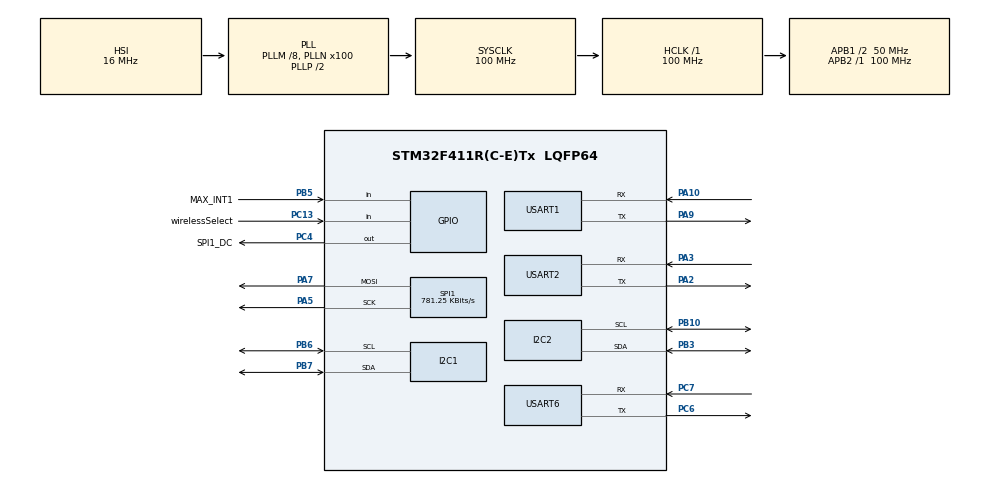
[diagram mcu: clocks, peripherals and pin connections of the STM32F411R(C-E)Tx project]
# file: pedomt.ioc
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Dma.I2C1_RX.0.Direction=DMA_PERIPH_TO_MEMORY
Dma.I2C1_RX.0.FIFOMode=DMA_FIFOMODE_DISABLE
Dma.I2C1_RX.0.Instance=DMA1_Stream0
Dma.I2C1_RX.0.MemDataAlignment=DMA_MDATAALIGN_BYTE
Dma.I2C1_RX.0.MemInc=DMA_MINC_ENABLE
Dma.I2C1_RX.0.Mode=DMA_NORMAL
Dma.I2C1_RX.0.PeriphDataAlignment=DMA_PDATAALIGN_BYTE
Dma.I2C1_RX.0.PeriphInc=DMA_PINC_DISABLE
Dma.I2C1_RX.0.Priority=DMA_PRIORITY_LOW
Dma.I2C1_TX.1.Direction=DMA_MEMORY_TO_PERIPH
Dma.I2C1_TX.1.FIFOMode=DMA_FIFOMODE_DISABLE
Dma.I2C1_TX.1.Instance=DMA1_Stream1
Dma.I2C1_TX.1.MemDataAlignment=DMA_MDATAALIGN_BYTE
Dma.I2C1_TX.1.MemInc=DMA_MINC_ENABLE
Dma.I2C1_TX.1.Mode=DMA_NORMAL
Dma.I2C1_TX.1.PeriphDataAlignment=DMA_PDATAALIGN_BYTE
Dma.I2C1_TX.1.PeriphInc=DMA_PINC_DISABLE
Dma.I2C1_TX.1.Priority=DMA_PRIORITY_LOW
Dma.Request0=I2C1_RX
Dma.Request1=I2C1_TX
Dma.Request2=USART1_RX
Dma.Request3=USART2_RX
Dma.USART1_RX.2.Direction=DMA_PERIPH_TO_MEMORY
Dma.USART1_RX.2.FIFOMode=DMA_FIFOMODE_DISABLE
Dma.USART1_RX.2.Instance=DMA2_Stream2
Dma.USART1_RX.2.MemDataAlignment=DMA_MDATAALIGN_BYTE
Dma.USART1_RX.2.MemInc=DMA_MINC_ENABLE
Dma.USART1_RX.2.Mode=DMA_CIRCULAR
Dma.USART1_RX.2.PeriphDataAlignment=DMA_PDATAALIGN_BYTE
Dma.USART1_RX.2.PeriphInc=DMA_PINC_DISABLE
Dma.USART1_RX.2.Priority=DMA_PRIORITY_LOW
Dma.USART2_RX.3.Direction=DMA_PERIPH_TO_MEMORY
Dma.USART2_RX.3.FIFOMode=DMA_FIFOMODE_DISABLE
Dma.USART2_RX.3.Instance=DMA1_Stream5
Dma.USART2_RX.3.MemDataAlignment=DMA_MDATAALIGN_BYTE
Dma.USART2_RX.3.MemInc=DMA_MINC_ENABLE
Dma.USART2_RX.3.Mode=DMA_NORMAL
Dma.USART2_RX.3.PeriphDataAlignment=DMA_PDATAALIGN_BYTE
Dma.USART2_RX.3.PeriphInc=DMA_PINC_DISABLE
Dma.USART2_RX.3.Priority=DMA_PRIORITY_LOW
Mcu.Family=STM32F4
Mcu.Name=STM32F411R(C-E)Tx
Mcu.Package=LQFP64
NVIC.DMA1_Stream0_IRQn=true\:0\:0\:false\:false\:true\:false\:true
NVIC.DMA1_Stream1_IRQn=true\:0\:0\:false\:false\:true\:false\:true
NVIC.DMA1_Stream5_IRQn=true\:0\:0\:false\:false\:true\:false\:true
NVIC.DMA2_Stream2_IRQn=true\:0\:0\:false\:false\:true\:false\:true
NVIC.PriorityGroup=NVIC_PRIORITYGROUP_4
NVIC.TIM3_IRQn=true\:0\:0\:false\:false\:true\:true\:true
PA10.Mode=Asynchronous
PA10.Signal=USART1_RX
PA2.Mode=Asynchronous
PA2.Signal=USART2_TX
PA3.Mode=Asynchronous
PA3.Signal=USART2_RX
PA5.Mode=TX_Only_Simplex_Unidirect_Master
PA5.Signal=SPI1_SCK
PA7.Mode=TX_Only_Simplex_Unidirect_Master
PA7.Signal=SPI1_MOSI
PA9.Mode=Asynchronous
PA9.Signal=USART1_TX
PB10.Mode=I2C
PB10.Signal=I2C2_SCL
PB3.Mode=I2C
PB3.Signal=I2C2_SDA
PB5.GPIO_Label=MAX_INT1
PB5.GPIO_PuPd=GPIO_PULLDOWN
PB5.Signal=GPIO_Input
PB6.GPIO_Pu=GPIO_PULLUP
PB6.Mode=I2C
PB6.Signal=I2C1_SCL
PB7.GPIO_Pu=GPIO_PULLUP
PB7.Mode=I2C
PB7.Signal=I2C1_SDA
PC13-ANTI_TAMP.GPIO_Label=wirelessSelect
PC13-ANTI_TAMP.Signal=GPIO_Input
PC4.GPIO_Label=SPI1_DC
PC4.GPIO_PuPd=GPIO_NOPULL
PC4.GPIO_Speed=GPIO_SPEED_FREQ_HIGH
PC4.Signal=GPIO_Output
PC6.Mode=Asynchronous
PC6.Signal=USART6_TX
PC7.Mode=Asynchronous
PC7.Signal=USART6_RX
ProjectManager.HeapSize=0x200
ProjectManager.StackSize=0x400
ProjectManager.TargetToolchain=MDK-ARM V5.32
RCC.48MHZClocksFreq_Value=50000000
RCC.AHBFreq_Value=100000000
RCC.APB1CLKDivider=RCC_HCLK_DIV2
RCC.APB1Freq_Value=50000000
RCC.APB1TimFreq_Value=100000000
RCC.APB2Freq_Value=100000000
RCC.APB2TimFreq_Value=100000000
RCC.CortexFreq_Value=100000000
RCC.HCLKFreq_Value=100000000
RCC.HSE_VALUE=25000000
RCC.HSI_VALUE=16000000
RCC.LSE_VALUE=32768
RCC.PLLM=8
RCC.PLLN=100
RCC.SYSCLKFreq_VALUE=100000000
RCC.SYSCLKSource=RCC_SYSCLKSOURCE_PLLCLK
RCC.VCOOutputFreq_Value=200000000
SPI1.BaudRatePrescaler=SPI_BAUDRATEPRESCALER_128
SPI1.CalculateBaudRate=781.25 KBits/s
SPI1.Direction=SPI_DIRECTION_2LINES
SPI1.Mode=SPI_MODE_MASTER
SPI1.VirtualType=VM_MASTER
TIM3.Period=999
TIM3.Prescaler=999
USART1.VirtualMode=VM_ASYNC
USART2.VirtualMode=VM_ASYNC
USART6.VirtualMode=VM_ASYNC
VP_TIM3_VS_ClockSourceINT.Mode=Internal
board=custom

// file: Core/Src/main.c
/* USER CODE BEGIN Header */
/**
  ******************************************************************************
  * @file           : main.c
  * @brief          : Main program body
  ******************************************************************************
  * @attention
  *
  * Copyright (c) 2022 STMicroelectronics.
  * All rights reserved.
  *
  * This software is licensed under terms that can be found in the LICENSE file
  * in the root directory of this software component.
  * If no LICENSE file comes with this software, it is provided AS-IS.
  *
  ******************************************************************************
  */
/* USER CODE END Header */
#include "main.h"
#include "dma.h"
#include "i2c.h"
#include "spi.h"
#include "tim.h"
#include "usart.h"
#include "gpio.h"

/* USER CODE BEGIN Includes */
#include "esp32.h"
#include "bt.h"
#include "adxl345.h"
#include "oled12864.h"
#include "wifi.h"
#include "filter.h"
#include "step.h"
#include "max30102.h"
#include "heartrate.h"

#include "arm_math.h"
/* USER CODE END Includes */

/* USER CODE BEGIN PD */
#define TOTAL_ACC 244
/* USER CODE END PD */

/* USER CODE BEGIN PV */
static uint8_t i = 0;
static uint16_t d = 0;
static uint32_t stepNum = 0;
static float32_t f = 0;
static float32_t hw = 0;
static WifiDataPack_3AxisAccWithTotal acc;
static uint16_t heartRate = 0;
static BtDataPack_3AxisAccWithTotal pdata_3Acc;

static uint16_t data_hr[] = { 88, 92, 100, 92, 98, 92, 92, 93, 92, 96, 92, 96, 93, 96, 86, 96, 90, 92, 96, 92, 93, 88, 90, 85, 92, 88, 96, 93, 96, 89, 89, 95, 90, 92, 85, 88, 88, 88, 92, 166, 98, 92, 86, 85, 90, 90, 90, 90, 86, 92, 96, 85, 85, 92, 88, 92, 93, 90, 93, 92, 92, 93, 93, 93, 90, 86, 90, 90, 181, 86, 90, 92, 92, 93, 96, 96, 92, 88, 90, 98, 93, 96, 96, 98, 90, 93, 46, 93, 92, 92, 93, 93, 88, 88, 88, 92, 90, 96, 90, 92, 95, 88, 88, 30, 93, 93, 92, 92, 85, 88, 88, 92, 93, 93, 92, 93, 88, 93, 93, 93, 93, 96, 93, 93, 93, 93, 86, 93, 88, 93, 89, 88, 90, 90, 92, 93, 46, 93, 92, 92, 93, 93, 88, 88, 88, 92, 90, 96, 90, 92, 95 };
/* USER CODE END PV */

void SystemClock_Config(void);

int main(void)
{

  /* MCU Configuration--------------------------------------------------------*/

  /* Reset of all peripherals, Initializes the Flash interface and the Systick. */
  HAL_Init();

  /* Configure the system clock */
  SystemClock_Config();

  /* Initialize all configured peripherals */
  MX_GPIO_Init();
  MX_DMA_Init();
  MX_I2C1_Init();
  MX_TIM3_Init();
  MX_USART1_UART_Init();
  MX_USART2_UART_Init();
  MX_USART6_UART_Init();
  MX_SPI1_Init();
  MX_I2C2_Init();
  /* USER CODE BEGIN 2 */
	OLED_Init();
	OledDisplayLine((uint8_t*)"oled init success");
	ADXL345_Init();
	OledDisplayLine((uint8_t*)"adxl345 init success");

	esp32WirelessUse = NO_WIRELESS;
	OLED_ShowString(0, 3, (uint8_t*)"no wireless mode", OLED_CHAR_SIZE8);
	for (i = 0; i < 50; i++)//select wireless mode and wating esp32 init
	{
		if (HAL_GPIO_ReadPin(wirelessSelect_GPIO_Port, wirelessSelect_Pin) == GPIO_PIN_RESET)
		{
			HAL_Delay(10);
			if (HAL_GPIO_ReadPin(wirelessSelect_GPIO_Port, wirelessSelect_Pin) == GPIO_PIN_RESET)
			{
				if (esp32WirelessUse == NO_WIRELESS)
				{
					esp32WirelessUse = USE_BLUETOOTH;
					OLED_ShowString(0, 3, (uint8_t*)"bluetooth mode  ", OLED_CHAR_SIZE8);
				}
				else if (esp32WirelessUse == USE_BLUETOOTH)
				{
					esp32WirelessUse = USE_WIFI;
					OLED_ShowString(0, 3, (uint8_t*)"wifi mode       ", OLED_CHAR_SIZE8);
				}
				else if (esp32WirelessUse == USE_WIFI)
				{
					esp32WirelessUse = NO_WIRELESS;
					OLED_ShowString(0, 3, (uint8_t*)"no wireless mode", OLED_CHAR_SIZE8);
				}
				HAL_Delay(10);
				while((HAL_GPIO_ReadPin(wirelessSelect_GPIO_Port, wirelessSelect_Pin) == GPIO_PIN_RESET))HAL_Delay(100);
			}

		}
		HAL_Delay(100);
	}
	i = 0;
	if (esp32WirelessUse == USE_BLUETOOTH)BtInit();
	else if (esp32WirelessUse == USE_WIFI)WifiInit();
	else OledDisplayLine((uint8_t*)"no wireless");

	ADXL345_RD_XYZ(&(acc.x), &(acc.y), &(acc.z));
	acc.f = (float)sqrt((double)acc.x*acc.x + (double)acc.y*acc.y + (double)acc.z*acc.z);
	FilterInit(acc.f);
	OLED_Clear();
	OledStepCountInit();
	OledHeartrateInit();

	HeartRateInit();
	HAL_TIM_Base_Start_IT(&htim3);

  /* USER CODE END 2 */

  /* Infinite loop */
  /* USER CODE BEGIN WHILE */
	while (1)
	{
		OledShowStepCountNum(stepNum);
//		if (i == 10)
//		{
//			OledDisplayHeartrateWave(d+30);
//			d++;
//			i = 0;
//			if (d > 130)d = 0;
//		}
//		i++;
		HAL_Delay(100);
    /* USER CODE END WHILE */

	}
}

void SystemClock_Config(void)
{
  RCC_OscInitTypeDef RCC_OscInitStruct = {0};
  RCC_ClkInitTypeDef RCC_ClkInitStruct = {0};

  /** Configure the main internal regulator output voltage
  */
  __HAL_RCC_PWR_CLK_ENABLE();
  __HAL_PWR_VOLTAGESCALING_CONFIG(PWR_REGULATOR_VOLTAGE_SCALE1);
  /** Initializes the RCC Oscillators according to the specified parameters
  * in the RCC_OscInitTypeDef structure.
  */
  RCC_OscInitStruct.OscillatorType = RCC_OSCILLATORTYPE_HSI;
  RCC_OscInitStruct.HSIState = RCC_HSI_ON;
  RCC_OscInitStruct.HSICalibrationValue = RCC_HSICALIBRATION_DEFAULT;
  RCC_OscInitStruct.PLL.PLLState = RCC_PLL_ON;
  RCC_OscInitStruct.PLL.PLLSource = RCC_PLLSOURCE_HSI;
  RCC_OscInitStruct.PLL.PLLM = 8;
  RCC_OscInitStruct.PLL.PLLN = 100;
  RCC_OscInitStruct.PLL.PLLP = RCC_PLLP_DIV2;
  RCC_OscInitStruct.PLL.PLLQ = 4;
  if (HAL_RCC_OscConfig(&RCC_OscInitStruct) != HAL_OK)
  {
    Error_Handler();
  }
  /** Initializes the CPU, AHB and APB buses clocks
  */
  RCC_ClkInitStruct.ClockType = RCC_CLOCKTYPE_HCLK|RCC_CLOCKTYPE_SYSCLK
                              |RCC_CLOCKTYPE_PCLK1|RCC_CLOCKTYPE_PCLK2;
  RCC_ClkInitStruct.SYSCLKSource = RCC_SYSCLKSOURCE_PLLCLK;
  RCC_ClkInitStruct.AHBCLKDivider = RCC_SYSCLK_DIV1;
  RCC_ClkInitStruct.APB1CLKDivider = RCC_HCLK_DIV2;
  RCC_ClkInitStruct.APB2CLKDivider = RCC_HCLK_DIV1;

  if (HAL_RCC_ClockConfig(&RCC_ClkInitStruct, FLASH_LATENCY_3) != HAL_OK)
  {
    Error_Handler();
  }
}

/* USER CODE BEGIN 4 */
void HAL_UART_RxCpltCallback(UART_HandleTypeDef *UartHandle)
{
	if (UartHandle->Instance == USART1)Esp32RxCallback();
}

void HAL_TIM_PeriodElapsedCallback(TIM_HandleTypeDef *htim) {
	if (htim->Instance == htim3.Instance) {

		ADXL345_RD_XYZ(&(acc.x), &(acc.y), &(acc.z));
		acc.f = (float)sqrt((double)acc.x*acc.x + (double)acc.y*acc.y + (double)acc.z*acc.z);
		Filter(&(acc.f), &f, 1);
		stepNum += StepCount(&f);

		hw = GetHeartWaveWithFilter();
		heartRate = CalcHeartrate(&hw);
		if (heartRate)
		{
			OledShowHeartrateCountNum(heartRate);
			OledDisplayHeartrateWave(heartRate);
		}

		if (esp32WirelessUse == USE_BLUETOOTH)
		{
			pdata_3Acc.x = acc.x;
			pdata_3Acc.y = acc.y;
			pdata_3Acc.z = hw;
			pdata_3Acc.f = f;
			BtSendDatapack_3AxisAccWithTotal(&pdata_3Acc);
		}
		else if (esp32WirelessUse == USE_WIFI)
		{
			WifiSendDataPack_MixedAcc(&(f));
		}
	}
}
/* USER CODE END 4 */

void Error_Handler(void)
{
	__disable_irq();
	while (1)
	{
	}
}
